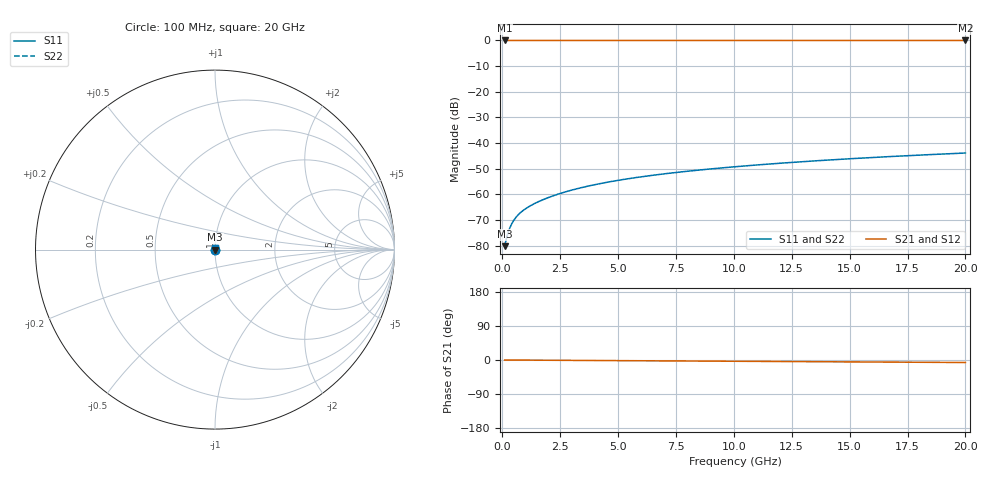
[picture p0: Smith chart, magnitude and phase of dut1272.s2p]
! Touchstone file exported from HFSS 2026.1.0
!  File:  C:/ffzhzh/LocalFiles/Ansys_Project_Files/temp_train_TSV_1272_1783194128_55132.aedt
!  Generated:  03:43:30 AM Jul  5, 2026
!  Design:  TSV
!  Project:  temp_train_TSV_1272_1783194128_55132
! Variables:
!  h_bsmrdl = 2um
!  h_ox = 20um
!  h_rdl = 5um
!  h_sub = 61.74um
!  h_tmrdl = 5um
!  h_tsv = 61.74um
!  h_via = 3um
!  l_bsmrdl = 300um
!  l_sub = 425.68um
!  l_tmrdl = 200um
!  m_sub = 200um
!  pitch = 53.79um
!  r_tsv = 12.84um
!  s_tmrdl = 10um
!  w_bsmrdl = 18um
!  w_sub = 500um
!  w_tmrdl = 12um
!  x_tsv_center1 = 206um
!  x_tsv_center2 = 524um
!  x_tsv_center3 = 736um
!  x_tsv_center4 = 1054um
!  x_tsv_center5 = 1266um
!  x_tsv_center6 = 1584um
# GHz S MA R 50.000000
! Terminal data exported
! Port[1] = TSV1_1_T1
! Port[2] = TSV1_1_T2
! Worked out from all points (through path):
!   200 points, 100 MHz to 20 GHz, reference 50 ohm
!   highest |S21| = 0.00 dB at 100 MHz (marker M1); lowest = 0.0 dB at 20 GHz (marker M2)
!   lowest |S11| = -80.3 dB at 100 MHz (marker M3), VSWR 1.00, Z = 50 + j0.00641 ohm
!   |S11| at or under -10 dB: start of sweep to end of sweep
!   |S22| runs from -80.3 to -43.9 dB; largest |S21 - S12| = 4.1e-15
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0.1  9.715e-05 41.2  0.9999 -0.0  0.9999 -0.0  9.715e-05 41.2
! Gamma 0 0 0 0
! Port Impedance 50 0 50 0
0.2  0.0001505 56.5  0.9999 -0.1  0.9999 -0.1  0.0001505 56.5
0.3  0.0002073 61.9  0.9999 -0.1  0.9999 -0.1  0.0002073 61.9
0.4  0.0002617 63.9  0.9999 -0.1  0.9999 -0.1  0.0002617 63.9
0.5  0.0003124 64.7  0.9999 -0.2  0.9999 -0.2  0.0003124 64.7
0.6  0.0003593 65.1  0.9998 -0.2  0.9998 -0.2  0.0003593 65.1
0.7  0.0004029 65.4  0.9998 -0.2  0.9998 -0.2  0.0004029 65.4
0.9  0.0004827 65.9  0.9998 -0.3  0.9998 -0.3  0.0004827 65.9
1.1  0.0005563 66.6  0.9998 -0.4  0.9998 -0.4  0.0005563 66.6
1.3  0.0006267 67.4  0.9998 -0.4  0.9998 -0.4  0.0006267 67.4
1.6  0.0007298 68.7  0.9997 -0.5  0.9997 -0.5  0.0007298 68.7
1.9  0.0008321 69.9  0.9997 -0.6  0.9997 -0.6  0.0008321 69.9
2.6  0.00107 72.0  0.9997 -0.9  0.9997 -0.9  0.00107 72.0
3.5  0.001374 73.7  0.9996 -1.2  0.9996 -1.2  0.001374 73.7
4.2  0.001607 74.4  0.9996 -1.4  0.9996 -1.4  0.001607 74.4
5  0.001869 75.0  0.9996 -1.7  0.9996 -1.7  0.001869 75.0
6.8  0.002441 75.8  0.9995 -2.3  0.9995 -2.3  0.002441 75.8
8.3  0.002907 76.1  0.9994 -2.8  0.9994 -2.8  0.002907 76.1
10.1  0.003456 76.4  0.9994 -3.4  0.9994 -3.4  0.003456 76.4
13.4  0.004449 76.4  0.9993 -4.4  0.9993 -4.4  0.004449 76.4
16.7  0.005423 76.1  0.9992 -5.5  0.9992 -5.5  0.005423 76.1
20  0.006374 75.5  0.9991 -6.6  0.9991 -6.6  0.006374 75.5
